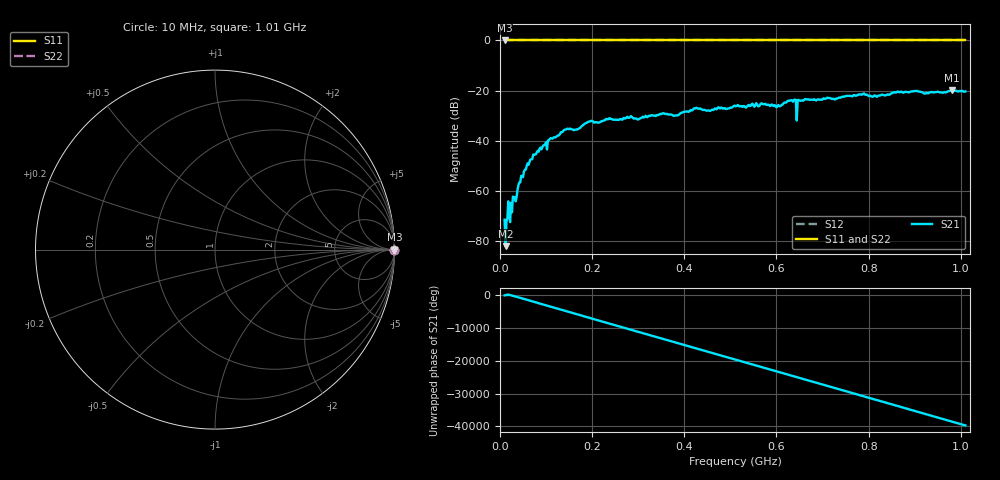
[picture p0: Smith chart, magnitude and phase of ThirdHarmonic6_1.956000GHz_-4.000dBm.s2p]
! 8/16/2025 11:32:39 PM
! C:\ANRITSUVNA\TEMP\TEMP.S2P
! CHANNEL.1
! TR.MEASUREMENT
! RAW.DATA
! RF.CORRECTION.OFF
! AVERAGING.OFF
! IF.BANDWIDTH: 5KHZ
! SWEEPTYPE:  FREQ.SWEEP(Linear)
! Reference Plane Port Info
! PORT:  PORT1  PORT2
! DISTANCE:  0  m  0  m
! TIME:  0  s  0  s
! PHASE.OFFSET:  0  deg.  0  deg.
! LOSS:  0  dB  0  dB
! REF.LOSS:  0  dB  0  dB
! REF.FREQ:  0  Hz  0  Hz
! Power Info
! POWER:  -20  dBm  -20  dBm
! EFF.POWER:  -20  dBm  -20  dBm
! SOURCE.ATTEN:  0  dB  0  dB
! TEST.ATTEN:  0  dB  0  dB
# GHZ S RI R 50.0
! FREQ.GHZ  S11RE  S11IM  S21RE  S21IM  S12RE  S12IM  S22RE  S22IM
!; PortSelection: Port_12
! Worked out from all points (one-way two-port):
!   501 points, 10 MHz to 1.01 GHz, reference 50 ohm
!   highest |S21| = -19.89 dB at 980 MHz (marker M1); lowest = -81.9 dB at 12 MHz (marker M2)
!   lowest |S11| = 0.0 dB at 10 MHz (marker M3)
!   |S11| at or under -10 dB: nowhere
!   |S22| runs from 0.0 to 0.0 dB; largest |S21 - S12| = 1.1
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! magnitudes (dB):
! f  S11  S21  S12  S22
! 10 MHz  0.0  -71.4  0.0  0.0
! 12 MHz  0.0  -81.9  0.0  0.0
! 24 MHz  0.0  -64.6  0.0  0.0
! 28 MHz  0.0  -62.2  0.0  0.0
! 36 MHz  0.0  -62.3  0.0  0.0
! 44 MHz  0.0  -56.4  0.0  0.0
! 70 MHz  0.0  -47.2  0.0  0.0
! 108 MHz  0.0  -39.2  0.0  0.0
! 142 MHz  0.0  -35.5  0.0  0.0
! 178 MHz  0.0  -34.0  0.0  0.0
! 196 MHz  0.0  -32.1  0.0  0.0
! 344 MHz  0.0  -29.7  0.0  0.0
! 382 MHz  0.0  -29.9  0.0  0.0
! 510 MHz  0.0  -26.0  0.0  0.0
! 604 MHz  0.0  -25.7  0.0  0.0
! 628 MHz  0.0  -24.0  0.0  0.0
! 648 MHz  0.0  -23.6  0.0  0.0
! 650 MHz  0.0  -23.8  0.0  0.0
! 678 MHz  0.0  -23.6  0.0  0.0
! 844 MHz  0.0  -21.7  0.0  0.0
! 980 MHz  0.0  -19.9  0.0  0.0
! 1.01 GHz  0.0  -20.3  0.0  0.0
